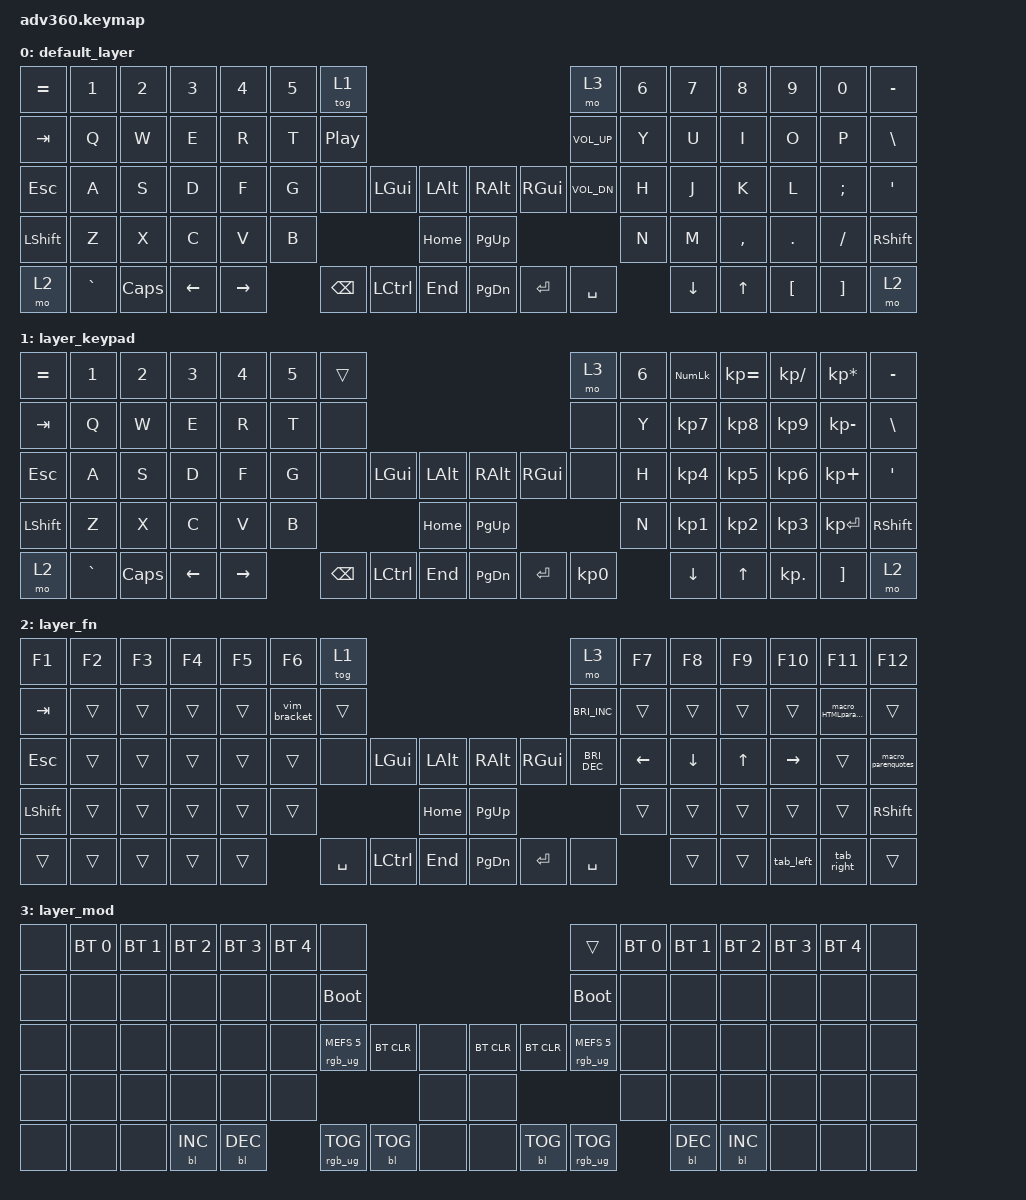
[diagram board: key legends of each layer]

/*
 * Copyright (c) 2020 The ZMK Contributors
 *
 * SPDX-License-Identifier: MIT
 */


/* THIS FILE WAS GENERATED!
 *
 * This file was generated automatically. You may or may not want to
 * edit it directly.
 */

#include <behaviors.dtsi>
#include <dt-bindings/zmk/keys.h>
#include <dt-bindings/zmk/bt.h>
#include <dt-bindings/zmk/rgb.h>
#include <dt-bindings/zmk/backlight.h>

/ {
    behaviors {
      #include "macros.dtsi"
      #include "version.dtsi"
      #ifndef VERSION_MACRO
      macro_ver: macro_ver {
        compatible = "zmk,behavior-macro";
        label = "macro_version";
        #binding-cells = <0>;
        bindings = <&kp RET>;
      };
      #endif

      hm: homerow_mods {
          compatible = "zmk,behavior-hold-tap";
          label = "HOMEROW_MODS";
          #binding-cells = <2>;
          tapping-term-ms = <200>;
          quick_tap_ms = <175>;
          flavor = "tap-preferred";
          bindings = <&kp>, <&kp>;
      };
    };

  keymap {
    compatible = "zmk,keymap";

        default_layer {
            bindings = <
   &kp EQUAL    &kp N1     &kp N2    &kp N3     &kp N4      &kp N5    &tog 1                                                          &mo 3          &kp N6     &kp N7     &kp N8      &kp N9    &kp N0    &kp MINUS
   &kp TAB      &kp Q      &kp W     &kp E      &kp R       &kp T     &kp C_PP                                                        &kp C_VOL_UP   &kp Y      &kp U      &kp I       &kp O     &kp P     &kp BSLH
   &kp ESC      &kp A      &kp S     &kp D      &kp F       &kp G     &none     &kp LGUI          &kp LALT   &kp RALT    &kp RGUI     &kp C_VOL_DN   &kp H      &kp J      &kp K       &kp L     &kp SEMI  &kp SQT
   &kp LSHFT    &kp Z      &kp X     &kp C      &kp V       &kp B                                 &kp HOME   &kp PG_UP                               &kp N      &kp M      &kp COMMA   &kp DOT   &kp FSLH  &kp RSHFT
   &mo 2        &kp GRAVE  &kp CAPS  &kp LEFT   &kp RIGHT             &kp BSPC  &kp LEFT_CONTROL  &kp END    &kp PG_DN   &kp ENTER    &kp SPACE                 &kp DOWN   &kp UP      &kp LBKT  &kp RBKT  &mo 2
            >;
        };

        layer_keypad {
            bindings = <
 &kp EQUAL      &kp N1     &kp N2    &kp N3     &kp N4      &kp N5    &trans                                                         &mo 3       &kp N6     &kp KP_NUM    &kp KP_EQUAL   &kp KP_DIVIDE  &kp KP_MULTIPLY  &kp MINUS
   &kp TAB      &kp Q      &kp W     &kp E      &kp R       &kp T     &none                                                          &none       &kp Y      &kp KP_N7     &kp KP_N8      &kp KP_N9      &kp KP_MINUS     &kp BSLH
   &kp ESC      &kp A      &kp S     &kp D      &kp F       &kp G     &none     &kp LGUI          &kp LALT   &kp RALT   &kp RGUI     &none       &kp H      &kp KP_N4     &kp KP_N5      &kp KP_N6      &kp KP_PLUS      &kp SQT
 &kp LSHFT      &kp Z      &kp X     &kp C      &kp V       &kp B                                 &kp HOME   &kp PG_UP                           &kp N      &kp KP_N1     &kp KP_N2      &kp KP_N3      &kp KP_ENTER     &kp RSHFT
     &mo 2      &kp GRAVE  &kp CAPS  &kp LEFT   &kp RIGHT             &kp BSPC  &kp LEFT_CONTROL  &kp END    &kp PG_DN  &kp ENTER    &kp KP_N0              &kp DOWN      &kp UP         &kp KP_DOT     &kp RBKT         &mo 2
            >;
        };

        layer_fn {
            bindings = <
     &kp F1     &kp F2  &kp F3  &kp F4  &kp F5  &kp F6        &tog 1                                                           &mo 3                  &kp F7    &kp F8     &kp F9    &kp F10     &kp F11                &kp F12
     &kp TAB    &trans  &trans  &trans  &trans  &vim_bracket  &trans                                                           &kp C_BRIGHTNESS_INC   &trans    &trans     &trans    &trans      &macro_HTMLparagraph   &trans
     &kp ESC    &trans  &trans  &trans  &trans  &trans        &none       &kp LGUI          &kp LALT   &kp RALT    &kp RGUI    &kp C_BRIGHTNESS_DEC   &kp LEFT  &kp DOWN   &kp UP    &kp RIGHT   &trans                 &macro_parenquotes
     &kp LSHFT  &trans  &trans  &trans  &trans  &trans                                      &kp HOME   &kp PG_UP                                      &trans    &trans     &trans    &trans      &trans                 &kp RSHFT
     &trans     &trans  &trans  &trans  &trans                &kp SPACE   &kp LEFT_CONTROL  &kp END    &kp PG_DN   &kp ENTER   &kp SPACE                        &trans     &trans    &tab_left   &tab_right             &trans
            >;
        };

        layer_mod {
            bindings = <
    &none      &bt BT_SEL 0  &bt BT_SEL 1  &bt BT_SEL 2  &bt BT_SEL 3  &bt BT_SEL 4    &none                                                                &trans                  &bt BT_SEL 0  &bt BT_SEL 1  &bt BT_SEL 2  &bt BT_SEL 3  &bt BT_SEL 4   &none
    &none      &none         &none         &none         &none         &none           &bootloader                                                          &bootloader             &none         &none         &none         &none         &none          &none
    &none      &none         &none         &none         &none         &none           &rgb_ug RGB_MEFS_CMD 5  &bt BT_CLR   &none   &bt BT_CLR  &bt BT_CLR  &rgb_ug RGB_MEFS_CMD 5  &none         &none         &none         &none         &none          &none
    &none      &none         &none         &none         &none         &none                                                &none   &none                                           &none         &none         &none         &none         &none          &none
    &none      &none         &none         &bl BL_INC    &bl BL_DEC                    &rgb_ug RGB_TOG         &bl BL_TOG   &none   &none       &bl BL_TOG  &rgb_ug RGB_TOG                       &bl BL_DEC    &bl BL_INC    &none         &none          &none
      >;
    };
  };
};
